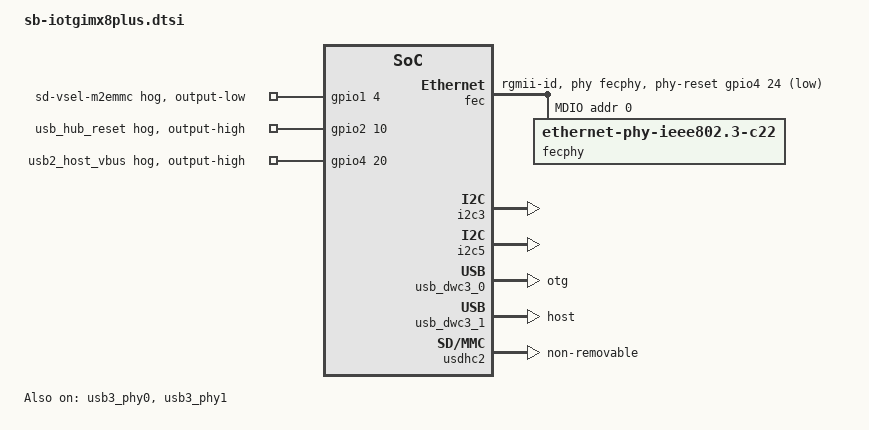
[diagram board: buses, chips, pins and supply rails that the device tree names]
// SPDX-License-Identifier: (GPL-2.0+ OR MIT)
/*
 * Copyright 2022 CompuLab
 */

/ {
	chosen {
		bootargs = "console=ttymxc1,115200 earlycon=ec_imx6q,0x30890000,115200 console=tty0";
		stdout-path = &uart2;
	};
};

&fec {
	pinctrl-names = "default";
	pinctrl-0 = <&pinctrl_fec>, <&pinctrl_fec_phy_reset>;
	phy-mode = "rgmii-id";
	phy-handle = <&fecphy>;
	phy-reset-gpios = <&gpio4 24 GPIO_ACTIVE_LOW>;
	phy-reset-duration = <10>;
	phy-reset-post-delay = <150>;
	status = "okay";

	mdio {
		compatible = "snps,dwmac-mdio";
		#address-cells = <1>;
		#size-cells = <0>;

		fecphy: fec-phy@0 {
			compatible = "ethernet-phy-ieee802.3-c22";
			reg = <0>;
			eee-broken-1000t;
		};
	};
};

&gpio1 {
	sd_vsel_m2emmc {
		pinctrl-names = "default";
		pinctrl-0 = <&pinctrl_usdhc2_gpio>;
		gpio-hog;
		gpios = <4 GPIO_ACTIVE_HIGH>;
		line-name = "sd-vsel-m2emmc";
		output-low;
	};
};

&gpio2 {
	usb_hub_reset {
		pinctrl-names = "default";
		pinctrl-0 = <&pinctrl_usb_hub_rst>;
		gpio-hog;
		gpios = <10 GPIO_ACTIVE_HIGH>;
		line-name = "usb_hub_reset";
		output-high;
	};
};

&gpio4 {
	usb_vbus_ena {
		pinctrl-names = "default";
		pinctrl-0 = <&pinctrl_usb2_vbus>;
		gpio-hog;
		gpios = <20 GPIO_ACTIVE_HIGH>;
		line-name = "usb2_host_vbus";
		output-high;
	};
};

&i2c3 {
	status = "okay";
};

&i2c5 {
	status = "okay";
};

&usb3_phy0 {
	status = "okay";
};

&usb_dwc3_0 {
	dr_mode = "otg";
	hnp-disable;
	srp-disable;
	adp-disable;
	usb-role-switch;
	status = "okay";
};

&usb3_phy1 {
	status = "okay";
};

&usb_dwc3_1 {
	pinctrl-names = "default";
	pinctrl-0 = <&pinctrl_usb_mux_sel>;
	dr_mode = "host";
	status = "okay";
};

&usdhc2 {
	pinctrl-names = "default";
	pinctrl-0 = <&pinctrl_usdhc2>;
	non-removable;
	no-1-8-v;
	status = "okay";
};

&cpu_alert0 {
    temperature = <100000>;
};

&cpu_crit0 {
    temperature = <105000>;
};

&soc_alert0 {
    temperature = <100000>;
};

&soc_crit0 {
    temperature = <105000>;
};

&iomuxc {
	pinctrl_fec_phy_reset: fecphyrstgrp {
		fsl,pins = <
			MX8MP_IOMUXC_SAI2_TXFS__GPIO4_IO24			0x19
		>;
	};

	pinctrl_usb_hub_rst: usbhubrstgrp {
		fsl,pins = <
			MX8MP_IOMUXC_SD1_RESET_B__GPIO2_IO10			0x19
		>;
	};

	pinctrl_usb_mux_sel: usbmuxselgrp {
		fsl,pins = <
			MX8MP_IOMUXC_GPIO1_IO15__GPIO1_IO15			0x114
		>;
	};

	pinctrl_usb2_vbus: usb2vbusgrp {
		fsl,pins = <
			MX8MP_IOMUXC_SAI1_MCLK__GPIO4_IO20			0x154
		>;
	};

	pinctrl_usdhc2_gpio: usdhc2gpiogrp {
		fsl,pins = <
			MX8MP_IOMUXC_GPIO1_IO04__GPIO1_IO04			0x101
		>;
	};
};
